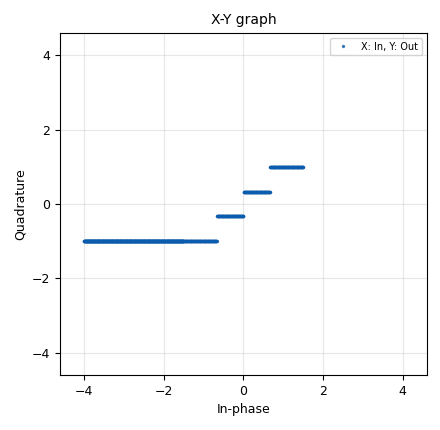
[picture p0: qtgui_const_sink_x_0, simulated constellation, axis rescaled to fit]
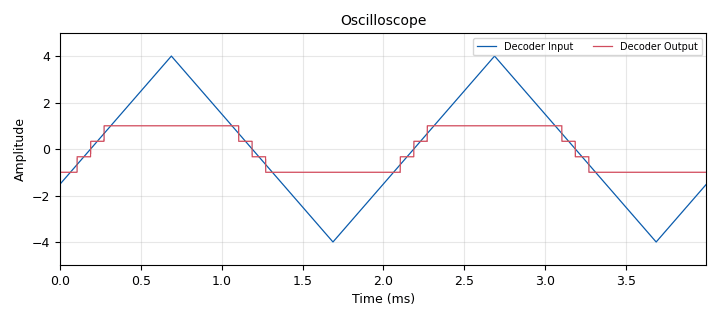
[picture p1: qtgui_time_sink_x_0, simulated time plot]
options:
  parameters:
    author: Francisco Nicolás Pérez Fernández
    copyright: '2022'
    description: Used to characterize the constellation decoder transfer function for a given constellation object.
    generate_options: qt_gui
    id: constellationDecoderTest
    output_language: python
    title: Constellation Decoder Test
  states: {}

blocks:
- name: fourPamConstellation
  id: variable_constellation
  parameters:
    comment: 4-PAM Constellation
    const_points: '[-1,-1/3,1/3,1]'
    dims: '1'
    normalization: digital.constellation.NO_NORMALIZATION
    precision: '8'
    rot_sym: '2'
    soft_dec_lut: '''auto'''
    sym_map: '[0,1,2,3]'
    type: calcdist
  states: {}
- name: samp_rate
  id: variable
  parameters:
    value: '1024000'
  states: {}
- name: analog_sig_source_x_0
  id: analog_sig_source_x
  parameters:
    amp: '1'
    freq: '500'
    offset: '0'
    phase: '0'
    samp_rate: samp_rate
    type: complex
    waveform: analog.GR_TRI_WAVE
  states: {}
- name: blocks_add_const_vxx_0
  id: blocks_add_const_vxx
  parameters:
    comment: 'Range: [-4,4]'
    const: '-4'
    type: float
  states: {}
- name: blocks_add_const_vxx_0_0
  id: blocks_add_const_vxx
  parameters:
    const: '-1'
    type: float
  states: {}
- name: blocks_char_to_float_0
  id: blocks_char_to_float
  parameters:
    scale: '1'
  states: {}
- name: blocks_complex_to_real_0
  id: blocks_complex_to_real
  parameters:
    comment: 'Range: [0,1]'
  states: {}
- name: blocks_float_to_complex_0
  id: blocks_float_to_complex
  parameters: {}
  states: {}
- name: blocks_float_to_complex_1
  id: blocks_float_to_complex
  parameters: {}
  states: {}
- name: blocks_multiply_const_vxx_0
  id: blocks_multiply_const_vxx
  parameters:
    const: '8'
    type: float
  states: {}
- name: blocks_multiply_const_vxx_0_0
  id: blocks_multiply_const_vxx
  parameters:
    comment: Visualization range adjust
    const: 2/3
    type: float
  states: {}
- name: blocks_multiply_const_xx_0
  id: blocks_multiply_const_xx
  parameters:
    comment: Wire organizer TM
    const: '1'
    type: float
  states: {}
- name: blocks_null_source_1
  id: blocks_null_source
  parameters:
    type: float
  states: {}
- name: digital_constellation_decoder_cb_0
  id: digital_constellation_decoder_cb
  parameters:
    constellation: fourPamConstellation
  states: {}
- name: qtgui_const_sink_x_0
  id: qtgui_const_sink_x
  parameters:
    grid: 'True'
    label1: 'X: In, Y: Out'
    name: '"X-Y graph"'
    size: '1024'
    type: complex
    update_time: '0.01'
  states: {}
- name: qtgui_time_sink_x_0
  id: qtgui_time_sink_x
  parameters:
    grid: 'True'
    label1: Decoder Input
    label2: Decoder Output
    name: '"Oscilloscope"'
    nconnections: '2'
    size: '4096'
    srate: samp_rate
    type: float
    update_time: '0.001'
    ymax: '5'
    ymin: '-5'
  states: {}

connections:
- [analog_sig_source_x_0, '0', blocks_complex_to_real_0, '0']
- [blocks_add_const_vxx_0, '0', blocks_float_to_complex_1, '0']
- [blocks_add_const_vxx_0, '0', blocks_multiply_const_xx_0, '0']
- [blocks_add_const_vxx_0, '0', qtgui_time_sink_x_0, '0']
- [blocks_add_const_vxx_0_0, '0', blocks_float_to_complex_0, '1']
- [blocks_add_const_vxx_0_0, '0', qtgui_time_sink_x_0, '1']
- [blocks_char_to_float_0, '0', blocks_multiply_const_vxx_0_0, '0']
- [blocks_complex_to_real_0, '0', blocks_multiply_const_vxx_0, '0']
- [blocks_float_to_complex_0, '0', qtgui_const_sink_x_0, '0']
- [blocks_float_to_complex_1, '0', digital_constellation_decoder_cb_0, '0']
- [blocks_multiply_const_vxx_0, '0', blocks_add_const_vxx_0, '0']
- [blocks_multiply_const_vxx_0_0, '0', blocks_add_const_vxx_0_0, '0']
- [blocks_multiply_const_xx_0, '0', blocks_float_to_complex_0, '0']
- [blocks_null_source_1, '0', blocks_float_to_complex_1, '1']
- [digital_constellation_decoder_cb_0, '0', blocks_char_to_float_0, '0']

metadata:
  file_format: 1
  grc_version: 3.10.2.0
